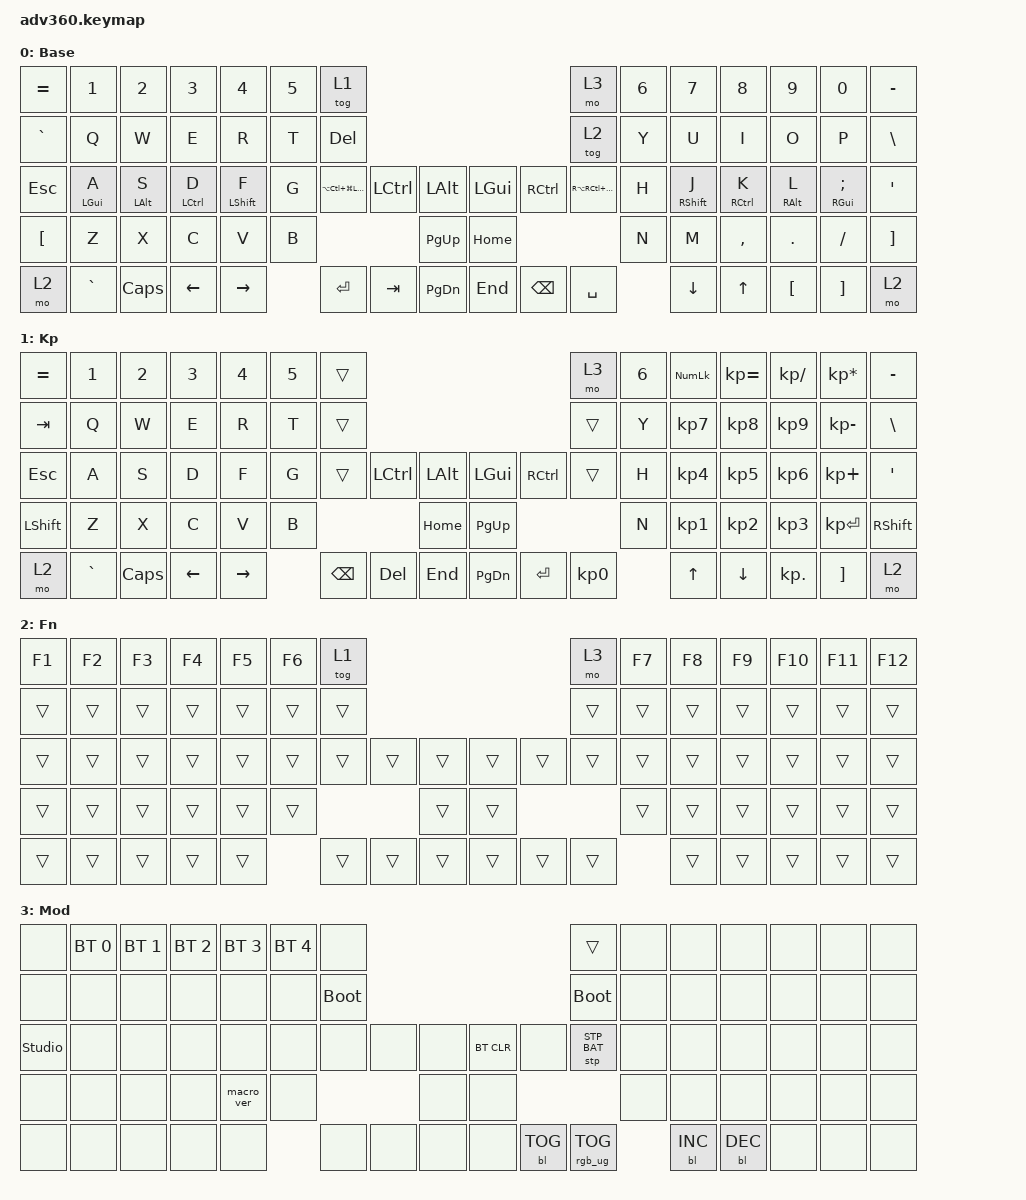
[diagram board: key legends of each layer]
#include <dt-bindings/zmk/stp.h>
#include <behaviors.dtsi>
#include <dt-bindings/zmk/backlight.h>
#include <dt-bindings/zmk/bt.h>
#include <dt-bindings/zmk/keys.h>
#include <dt-bindings/zmk/rgb.h>

/ {
    behaviors {
        #include "macros.dtsi"
      #include "version.dtsi"

        hm: homerow_mods {
            compatible = "zmk,behavior-hold-tap";
            label = "HOMEROW_MODS";
            #binding-cells = <2>;
            tapping-term-ms = <200>;
            quick_tap_ms = <175>;
            flavor = "tap-preferred";
            bindings = <&kp>, <&kp>;
        };

        HomeRowMod_Left: HomeRowMod_Left {
            compatible = "zmk,behavior-hold-tap";
            label = "HOMEROWMOD_LEFT";
            bindings = <&kp>, <&kp>;

            #binding-cells = <2>;
            tapping-term-ms = <175>;
            hold-while-undecided;
            hold-trigger-on-release;
            hold-trigger-key-positions = <7 8 9 10 11 12 13 21 22 23 24 25 26 27 37 38 39 40 41 42 43 44 45 53 54 55 56 57 58 59 68 69 70 71 72 73 74 75>;
        };

        HomeRowMode_Right: HomeRowMode_Right {
            compatible = "zmk,behavior-hold-tap";
            label = "HOMEROWMODE_RIGHT";
            bindings = <&kp>, <&kp>;

            #binding-cells = <2>;
            tapping-term-ms = <175>;
            hold-trigger-key-positions = <0 1 2 3 4 5 6 14 15 16 17 18 19 20 28 29 30 31 32 33 34 35 36 46 47 48 49 50 51 52 60 61 62 63 64 65 66 67>;
            hold-while-undecided;
            hold-trigger-on-release;
        };

        HomeRowMod_Left_TapPref: HomeRowMod_Left_TapPref {
            compatible = "zmk,behavior-hold-tap";
            label = "HOMEROWMOD_LEFT_TAPPREF";
            bindings = <&kp>, <&kp>;

            #binding-cells = <2>;
            tapping-term-ms = <175>;
            hold-trigger-on-release;
            hold-trigger-key-positions = <7 21 39 8 22 40 54 9 23 41 55 71 10 42 37 68 53 38 69 70 72 56 57 73 43 24 25 11 12 26 44 58 74 59 75 45 27 13>;
            hold-while-undecided;
            flavor = "tap-preferred";
            quick-tap-ms = <125>;
        };

        HomeRowMod_Right_TapPref: HomeRowMod_Right_TapPref {
            compatible = "zmk,behavior-hold-tap";
            label = "HOMEROWMOD_RIGHT_TAPPREF";
            bindings = <&kp>, <&kp>;

            #binding-cells = <2>;
            tapping-term-ms = <175>;
            hold-trigger-on-release;
            hold-trigger-key-positions = <4 0 1 2 3 4 5 6 14 15 16 17 18 19 20 28 29 30 31 32 33 34 35 36 46 47 48 49 50 51 52 60 61 62 63 64 65 66 67>;
            hold-while-undecided;
            flavor = "tap-preferred";
            quick-tap-ms = <125>;
        };
    };

    keymap {
        compatible = "zmk,keymap";

        default_layer {
            display-name = "Base";
            bindings = <
&kp EQUAL         &kp N1                               &kp N2                               &kp N3                            &kp N4                                 &kp N5  &tog 1                                                                             &mo 3                        &kp N6  &kp N7                                   &kp N8                             &kp N9                                 &kp N0                                         &kp MINUS
&kp GRAVE         &kp Q                                &kp W                                &kp E                             &kp R                                  &kp T   &kp DELETE                                                                         &tog 2                       &kp Y   &kp U                                    &kp I                              &kp O                                  &kp P                                          &kp BSLH
&kp ESC           &HomeRowMod_Left_TapPref LEFT_GUI A  &HomeRowMod_Left_TapPref LEFT_ALT S  &HomeRowMod_Left_TapPref LCTRL D  &HomeRowMod_Left_TapPref LEFT_SHIFT F  &kp G   &kp LA(LC(LG(LEFT_SHIFT)))  &kp LCTRL  &kp LALT           &kp LGUI  &kp RCTRL      &kp RA(RC(RG(RIGHT_SHIFT)))  &kp H   &HomeRowMod_Right_TapPref RIGHT_SHIFT J  &HomeRowMod_Right_TapPref RCTRL K  &HomeRowMod_Right_TapPref RIGHT_ALT L  &HomeRowMod_Right_TapPref RIGHT_GUI SEMICOLON  &kp SQT
&kp LEFT_BRACKET  &kp Z                                &kp X                                &kp C                             &kp V                                  &kp B                                          &kp PAGE_UP        &kp HOME                                              &kp N   &kp M                                    &kp COMMA                          &kp DOT                                &kp FSLH                                       &kp RIGHT_BRACKET
&mo 2             &kp GRAVE                            &kp CAPS                             &kp LEFT                          &kp RIGHT                                      &kp ENTER                   &kp TAB    &kp PAGE_DOWN      &kp END   &kp BACKSPACE  &kp SPACE                            &kp DOWN                                 &kp UP_ARROW                       &kp LBKT                               &kp RBKT                                       &mo 2
            >;
        };

        keypad {
            display-name = "Kp";
            bindings = <
&kp EQUAL  &kp N1     &kp N2    &kp N3    &kp N4     &kp N5  &trans                                                   &mo 3      &kp N6  &kp KP_NUM  &kp KP_EQUAL  &kp KP_DIVIDE  &kp KP_MULTIPLY  &kp MINUS
&kp TAB    &kp Q      &kp W     &kp E     &kp R      &kp T   &trans                                                   &trans     &kp Y   &kp KP_N7   &kp KP_N8     &kp KP_N9      &kp KP_MINUS     &kp BSLH
&kp ESC    &kp A      &kp S     &kp D     &kp F      &kp G   &trans    &kp LCTRL  &kp LALT      &kp LGUI   &kp RCTRL  &trans     &kp H   &kp KP_N4   &kp KP_N5     &kp KP_N6      &kp KP_PLUS      &kp SQT
&kp LSHFT  &kp Z      &kp X     &kp C     &kp V      &kp B                        &kp HOME      &kp PG_UP                        &kp N   &kp KP_N1   &kp KP_N2     &kp KP_N3      &kp KP_ENTER     &kp RSHFT
&mo 2      &kp GRAVE  &kp CAPS  &kp LEFT  &kp RIGHT          &kp BSPC  &kp DEL    &kp END       &kp PG_DN  &kp ENTER  &kp KP_N0          &kp UP      &kp DOWN      &kp KP_DOT     &kp RBKT         &mo 2
            >;
        };

        fn {
            display-name = "Fn";
            bindings = <
&kp F1  &kp F2  &kp F3  &kp F4  &kp F5  &kp F6  &tog 1                                      &mo 3   &kp F7  &kp F8  &kp F9  &kp F10  &kp F11  &kp F12
&trans  &trans  &trans  &trans  &trans  &trans  &trans                                      &trans  &trans  &trans  &trans  &trans   &trans   &trans
&trans  &trans  &trans  &trans  &trans  &trans  &trans  &trans  &trans      &trans  &trans  &trans  &trans  &trans  &trans  &trans   &trans   &trans
&trans  &trans  &trans  &trans  &trans  &trans                  &trans      &trans                  &trans  &trans  &trans  &trans   &trans   &trans
&trans  &trans  &trans  &trans  &trans          &trans  &trans  &trans      &trans  &trans  &trans          &trans  &trans  &trans   &trans   &trans
            >;
        };

        mod {
            display-name = "Mod";
            bindings = <
&none           &bt BT_SEL 0  &bt BT_SEL 1  &bt BT_SEL 2  &bt BT_SEL 3  &bt BT_SEL 4  &none                                                  &trans           &none  &none       &none       &none  &none  &none
&none           &none         &none         &none         &none         &none         &bootloader                                            &bootloader      &none  &none       &none       &none  &none  &none
&studio_unlock  &none         &none         &none         &none         &none         &none        &none  &none      &bt BT_CLR  &none       &stp STP_BAT     &none  &none       &none       &none  &none  &none
&none           &none         &none         &none         &macro_ver    &none                             &none      &none                                    &none  &none       &none       &none  &none  &none
&none           &none         &none         &none         &none                       &none        &none  &none      &none       &bl BL_TOG  &rgb_ug RGB_TOG         &bl BL_INC  &bl BL_DEC  &none  &none  &none
            >;
        };

        extra1 {
            display-name = "Red";
            status = "reserved";
        };

        extra2 {
            display-name = "Purple";
            status = "reserved";
        };

        extra3 {
            display-name = "Cyan";
            status = "reserved";
        };

        extra4 {
            display-name = "Yellow";
            status = "reserved";
        };
    };
};
